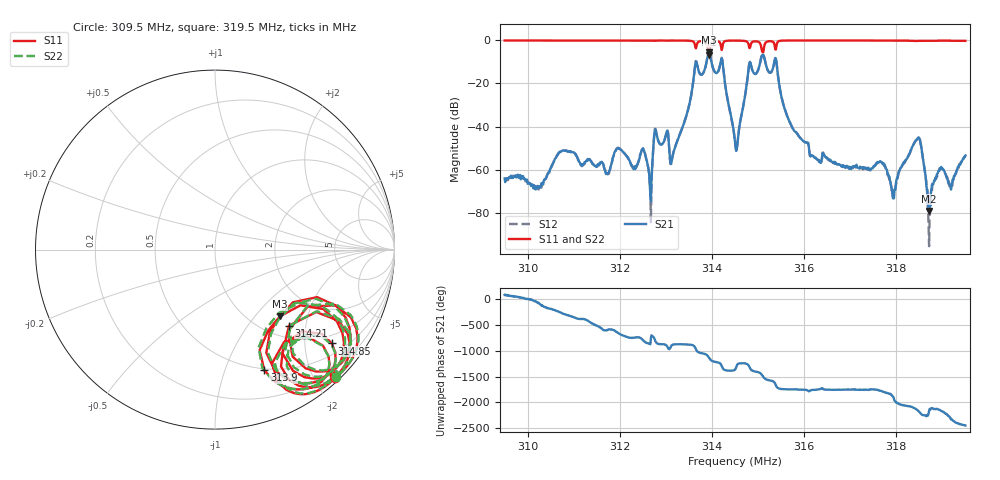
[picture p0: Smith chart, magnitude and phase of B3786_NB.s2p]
! Matrix data file written by TouchstoneData, EPCOS AG
! FILENAME: "LU53A_NB.s2p"
! COMMENT: "(touchstone/LU53A_NB.s2p) EPCOS AG 30.06.201"
! INFO: nport=2, nfreq=801
! DATE: "Wed Jun 30 15:35:39 2010"
! USER: "Aleksander Breg"
! port | pin | signal
!  1  |  2  |  input
!  2  |  5  |  output
# MHZ S MA R 50
! freq  magS11 angS11  magS21 angS21  magS12 angS12  magS22 angS22
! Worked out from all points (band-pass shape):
!   801 points, 309.5 MHz to 319.5 MHz, reference 50 ohm
!   highest |S21| = -6.68 dB at 313.94 MHz (marker M1); lowest = -79.0 dB at 318.7 MHz (marker M2)
!   |S21| within 3 dB of the highest: 313.8868 MHz to 313.9837 MHz (96.88 kHz wide, 0.0309 % of centre); 315.0528 MHz to 315.1521 MHz (99.33 kHz wide, 0.0315 % of centre) (the widest 2 of 4)
!   lowest |S11| = -5.7 dB at 313.94 MHz (marker M3), VSWR 3.16, Z = 66.9 - j68.1 ohm
!   |S11| at or under -10 dB: nowhere
!   |S22| runs from -6.0 to -0.2 dB; largest |S21 - S12| = 0.013
!   S11 on the Smith chart (normalised r, x): 309.5 MHz: 0.06, -2.30; 313.9 MHz: 0.48, -1.38; 314.21 MHz: 1.24, -1.61; 314.85 MHz: 0.76, -2.65; 319.5 MHz: 0.12, -2.29
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309.5  0.9809 -47.0  0.0006254 88.5  0.0005411 82.9  0.9792 -46.6
311.175  0.9786 -47.6  0.001216 -17.8  0.00122 -20.2  0.9767 -47.1
312.5  0.9768 -48.8  0.003076 -69.4  0.003117 -69.3  0.9765 -48.3
312.65  0.9788 -49.1  0.0004686 -137.0  0.0005275 -139.9  0.9776 -48.7
312.7625  0.9673 -49.2  0.008418 -68.5  0.008874 -67.9  0.9686 -48.8
312.8375  0.9788 -49.2  0.004557 -144.6  0.004587 -145.0  0.977 -48.8
313.1375  0.979 -50.4  0.001903 -165.8  0.001873 -163.0  0.9772 -49.9
313.65  0.6422 -53.1  0.3187 119.2  0.3284 118.9  0.6523 -52.9
313.9  0.727 -67.8  0.3866 -8.6  0.3872 -7.8  0.7105 -68.2
313.9375  0.5187 -45.9  0.4634 -53.3  0.466 -52.8  0.5009 -44.6
314.2125  0.5908 -45.7  0.3786 145.3  0.3909 144.8  0.5961 -44.6
314.5  0.9754 -46.5  0.004432 78.0  0.00448 78.8  0.9751 -45.8
314.85  0.8355 -38.8  0.255 74.3  0.2565 73.5  0.8411 -39.3
315.1375  0.7441 -24.9  0.388 -88.9  0.3905 -89.9  0.7338 -25.3
315.375  0.6102 -48.0  0.387 159.3  0.3989 159.4  0.6068 -46.9
315.65  0.9804 -40.8  0.01568 53.7  0.01569 53.9  0.9795 -40.2
316.175  0.9813 -43.9  0.00208 42.3  0.002103 40.6  0.981 -43.4
317.8375  0.9743 -46.2  0.0007076 -27.8  0.000677 -26.7  0.9745 -45.5
317.95  0.9743 -46.3  0.0002181 -130.7  0.0002555 -138.1  0.9757 -45.7
318.475  0.9619 -45.8  0.00552 1.0  0.005456 1.2  0.9461 -45.8
318.7  0.9725 -46.0  0.0001116 -54.7  5.55e-05 -53.0  0.97 -45.6
319.5  0.9611 -47.0  0.002135 74.0  0.002145 72.8  0.9685 -46.5
